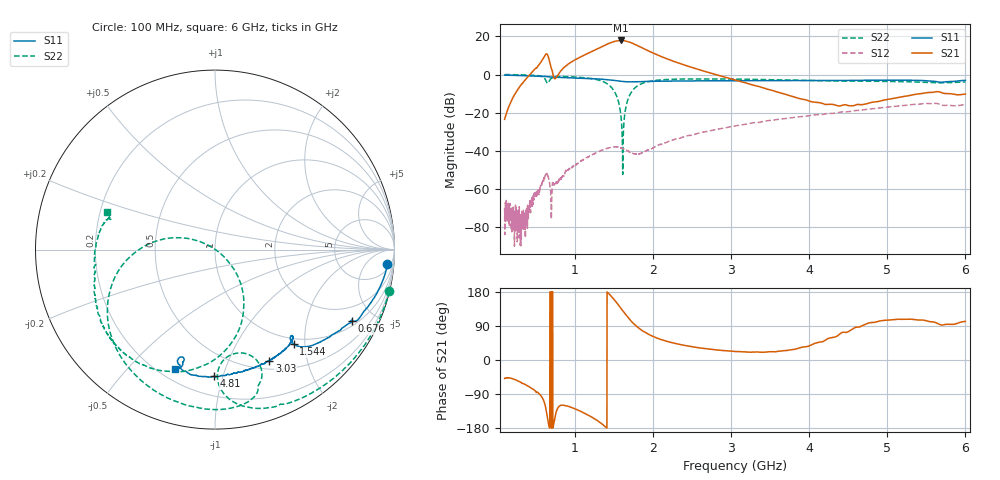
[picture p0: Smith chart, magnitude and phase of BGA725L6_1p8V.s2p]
! (c) 2012 Infineon Technologies AG
! BGA725L6 - SiGe GNSS Low Noise Amplifier (LNA)
! 20 September 2012
! Packaged Sample on Standard Application Board
! C1 = L1 = 0 ohm
! C2 = 1 uF
! VCC = 1.8 V
! RF input and output lines de-embedded
! Port 1 reference plane: LNA input AI (pin 5)
! Port 2 reference plane: LNA output AO (pin 3)
! Network Data:
! Measurement084
# Hz S MA R 50
!  f  Mag(S11)  Pha(S11)  Mag(S21)  Pha(S21)  Mag(S12)  Pha(S12)  Mag(S22)  Pha(S22)
!  Hz  --  deg  --  deg  --  deg  --  deg
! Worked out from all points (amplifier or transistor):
!   1784 points, 100 MHz to 6 GHz, reference 50 ohm
!   highest |S21| = 17.9 dB at 1.584 GHz (marker M1)
!   |S21| within 3 dB of that: 1.356 GHz to 1.817 GHz (460.5 MHz wide, 29 % of centre)
!   unconditionally stable (mu >= 1): start of sweep to end of sweep
!   at 694 MHz: K = 73.48, MAG = 13.5 dB, |S12| = -66.7 dB
!   at 1.818 GHz: K = 4.25, MAG = 19.0 dB, |S12| = -41.6 dB
!   at 6 GHz: K = 3.44, MAG = -5.6 dB, |S12| = -15.7 dB
!   lowest NFmin = 0.63 dB at 1.55 GHz
!   S11 on the Smith chart (normalised r, x): 100 MHz: 9, -21; 676 MHz: 1.22, -3.71; 1.544 GHz: 0.89, -1.78; 3.03 GHz: 0.61, -1.42; 4.81 GHz: 0.33, -0.94; 6 GHz: 0.26, -0.68
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1e8  0.9639 -4.6  0.0671 -48.9  0.0003214 -103.1  0.9993 -13.4
4.8e8  0.9108 -20.2  1.327 -79.2  0.0007743 -126.8  0.9497 -63.8
6.14e8  0.89 -25.4  3.094 -115.4  0.002198 -140.7  0.7844 -87.4
6.48e8  0.8763 -27.2  3.331 -152.9  0.002489 -179.1  0.59 -79.7
6.76e8  0.86 -27.5  2.161 -179.0  0.001365 155.6  0.708 -68.8
7.88e8  0.8428 -30.1  1.003 -124.7  0.001742 -141.7  0.89 -85.9
1.084e9  0.7972 -38.1  2.971 -136.4  0.005579 -151.9  0.8377 -119.3
1.35e9  0.7528 -45.6  5.449 -169.2  0.0105 -173.4  0.6671 -153.6
1.464e9  0.719 -48.8  6.897 168.7  0.01244 172.6  0.4685 -175.8
1.544e9  0.6849 -50.3  7.673 148.8  0.01268 161.1  0.2398 164.0
1.584e9  0.6677 -50.3  7.812 137.8  0.01211 156.3  0.1026 152.6
1.611e9  0.6586 -50.1  7.778 130.4  0.01156 153.6  0.005484 129.1
1.682e9  0.6431 -49.1  7.275 111.7  0.009771 151.2  0.2315 -52.4
1.806e9  0.6465 -48.2  5.669 86.1  0.008353 166.6  0.5114 -78.3
2.068e9  0.6694 -50.5  3.193 56.6  0.01423 -171.7  0.7143 -107.5
2.43e9  0.6796 -55.6  1.698 37.6  0.02455 -174.3  0.7648 -126.4
3.03e9  0.6882 -63.9  0.7407 22.7  0.04408 175.0  0.7582 -143.7
3.05e9  0.6881 -64.1  0.72 22.6  0.04481 174.7  0.7602 -143.9
4.04e9  0.6966 -78.0  0.1916 41.1  0.08588 157.1  0.6989 -164.8
4.81e9  0.7061 -90.5  0.1885 98.8  0.127 145.0  0.6646 179.3
5.02e9  0.7097 -94.7  0.2258 105.2  0.1403 141.3  0.6563 174.5
6e9  0.703 -108.7  0.3075 102.0  0.1647 127.0  0.6368 160.6
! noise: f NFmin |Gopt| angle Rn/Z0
1.55e+09  0.6344  0.4553  46.33  0.1699
1.557e+09  0.636  0.4549  46.52  0.1699
1.564e+09  0.6375  0.4546  46.71  0.1699
1.571e+09  0.6391  0.4542  46.89  0.17
1.578e+09  0.6407  0.4538  47.08  0.17
1.586e+09  0.6425  0.4534  47.29  0.1701
1.593e+09  0.6441  0.4531  47.48  0.1701
1.6e+09  0.6457  0.4527  47.66  0.1702
1.607e+09  0.6474  0.4524  47.84  0.1702
1.615e+09  0.6494  0.452  48.05  0.1703
